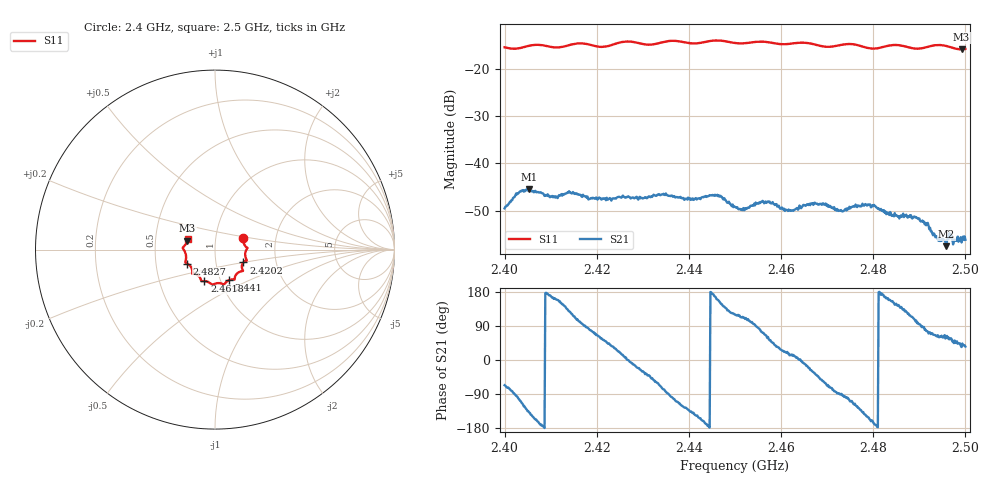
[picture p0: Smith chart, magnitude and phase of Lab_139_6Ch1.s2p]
# Hz S RI R 50
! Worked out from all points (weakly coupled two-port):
!   601 points, 2.4 GHz to 2.5 GHz, reference 50 ohm
!   highest |S21| = -45.45 dB at 2.4053 GHz (marker M1); lowest = -57.6 dB at 2.4958 GHz (marker M2)
!   lowest |S11| = -15.8 dB at 2.4992 GHz (marker M3), VSWR 1.39, Z = 36.5 + j3.66 ohm
!   |S11| at or under -10 dB: start of sweep to end of sweep
!   S12 and S22 are empty: the file has one direction only
!   S11 on the Smith chart (normalised r, x): 2.4 GHz: 1.36, +0.18; 2.4202 GHz: 1.36, -0.20; 2.441 GHz: 1.10, -0.39; 2.4618 GHz: 0.84, -0.31; 2.4827 GHz: 0.72, -0.12; 2.5 GHz: 0.73, +0.09
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2.4e9  0.1583 0.0627  0.00133 -0.00306  0 0  0 0
2.403e9  0.1636 0.0278  -0.000986 -0.00471  0 0  0 0
2.405333e9  0.1765 0.0126  -0.00401 -0.00352  0 0  0 0
2.411e9  0.1689 -0.0165  -0.0041 0.0014  0 0  0 0
2.416667e9  0.1774 -0.0607  -0.000533 0.00445  0 0  0 0
2.420167e9  0.1583 -0.0714  0.00177 0.00374  0 0  0 0
2.433333e9  0.1117 -0.1507  0.0022 -0.00413  0 0  0 0
2.441e9  0.0785 -0.1699  -0.0031 -0.00268  0 0  0 0
2.4465e9  0.0491 -0.1949  -0.00418 0.00186  0 0  0 0
2.45e9  0.0282 -0.1872  -0.00171 0.00301  0 0  0 0
2.457e9  -0.0195 -0.1926  0.00206 0.0033  0 0  0 0
2.461833e9  -0.0593 -0.1758  0.00309 0.00067  0 0  0 0
2.466667e9  -0.0786 -0.1681  0.00329 -0.00181  0 0  0 0
2.473e9  -0.12 -0.1346  3.36e-05 -0.0032  0 0  0 0
2.478833e9  -0.129 -0.107  -0.00321 -0.00177  0 0  0 0
2.482667e9  -0.1561 -0.0775  -0.003 0.000729  0 0  0 0
2.483333e9  -0.1603 -0.0754  -0.00269 0.00106  0 0  0 0
2.4895e9  -0.162 -0.0302  -0.000334 0.00261  0 0  0 0
2.494e9  -0.1799 0.00889  0.000657 0.00144  0 0  0 0
2.495833e9  -0.1753 0.0159  0.000654 0.00115  0 0  0 0
2.499167e9  -0.1545 0.0489  0.0012 0.000815  0 0  0 0
2.5e9  -0.152 0.0608  0.00126 0.000897  0 0  0 0
